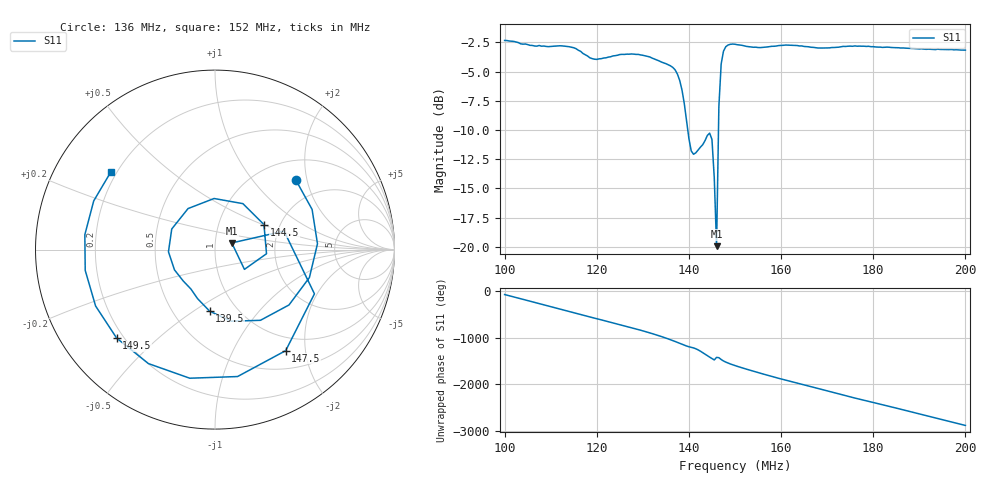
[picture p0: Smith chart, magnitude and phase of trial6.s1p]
#  HZ  S  RI  R  50.00
! Rohde & Schwarz ZVA40 2Ports - Version 3.12 - 1145.1110k40 SN: 100360
! Date: 2019-07-29 15:30:20
! Measurement: S11
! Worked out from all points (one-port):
!   201 points, 100 MHz to 200 MHz, reference 50 ohm
!   lowest |S11| = -19.9 dB at 146 MHz (marker M1), VSWR 1.22, Z = 60.1 + j4.52 ohm
!   |S11| at or under -10 dB: 139.7 MHz to 146.4 MHz (6.667 MHz wide, 4.66 % of centre)
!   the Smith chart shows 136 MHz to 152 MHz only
!   S11 on the Smith chart (normalised r, x): 136 MHz: 1.42, +1.71; 139.5 MHz: 0.75, -0.58; 144.5 MHz: 1.65, +0.51; 147.5 MHz: 0.77, -1.65; 149.5 MHz: 0.17, -0.37; 152 MHz: 0.18, +0.32
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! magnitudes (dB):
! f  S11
! 100 MHz  -2.3
! 106.5 MHz  -2.8
! 112.5 MHz  -2.8
! 115.5 MHz  -3.0
! 119.5 MHz  -3.9
! 125 MHz  -3.5
! 131 MHz  -3.7
! 136 MHz  -4.5
! 137.5 MHz  -5.2
! 138.5 MHz  -6.6
! 139.5 MHz  -9.3
! 140.5 MHz  -11.8
! 141 MHz  -12.1
! 144.5 MHz  -10.3
! 145 MHz  -10.8
! 145.5 MHz  -14.1
! 146 MHz  -19.9
! 146.5 MHz  -8.0
! 147 MHz  -4.3
! 147.5 MHz  -3.3
! 148 MHz  -2.9
! 149.5 MHz  -2.6
! 150 MHz  -2.7
! 152 MHz  -2.8
! 162.5 MHz  -2.8
! 175 MHz  -2.8
! 187.5 MHz  -3.0
! 200 MHz  -3.2
